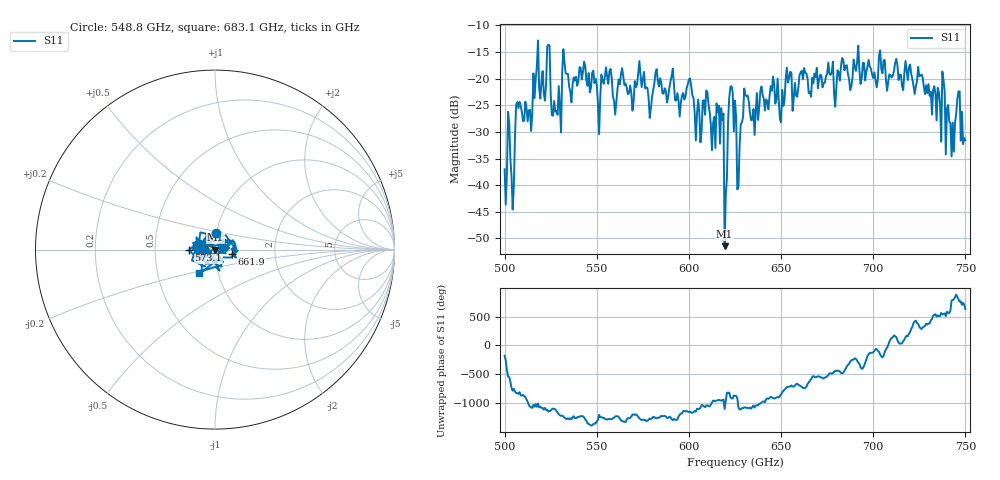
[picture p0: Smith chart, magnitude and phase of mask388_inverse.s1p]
!Created with skrf (http://scikit-rf.org).
# GHz S MA R 50.0
!freq magS11 angS11
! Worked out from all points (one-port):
!   401 points, 500 GHz to 750 GHz, reference 50 ohm
!   lowest |S11| = -51.5 dB at 619.4 GHz (marker M1), VSWR 1.01, Z = 50.2 - j0.101 ohm
!   |S11| at or under -10 dB: start of sweep to end of sweep
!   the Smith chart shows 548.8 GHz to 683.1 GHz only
!   S11 on the Smith chart (normalised r, x): 548.8 GHz: 0.99, +0.18; 573.1 GHz: 0.75, -0.01; 661.9 GHz: 1.21, -0.06; 683.1 GHz: 0.81, -0.21
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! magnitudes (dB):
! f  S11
! 500 GHz  -37.0
! 502.5 GHz  -28.3
! 504.4 GHz  -44.6
! 507.5 GHz  -25.6
! 513.8 GHz  -25.8
! 516.9 GHz  -20.1
! 523.8 GHz  -13.6
! 526.9 GHz  -24.2
! 531.2 GHz  -18.8
! 548.8 GHz  -20.8
! 562.5 GHz  -21.1
! 573.1 GHz  -16.7
! 593.8 GHz  -22.7
! 616.2 GHz  -25.1
! 619.4 GHz  -51.5
! 620.6 GHz  -38.7
! 622.5 GHz  -21.5
! 625 GHz  -24.2
! 627.5 GHz  -32.6
! 631.2 GHz  -23.3
! 656.2 GHz  -26.0
! 661.9 GHz  -20.1
! 683.1 GHz  -16.1
! 687.5 GHz  -22.1
! 718.8 GHz  -20.3
! 742.5 GHz  -34.6
! 745.6 GHz  -23.8
! 750 GHz  -31.5
